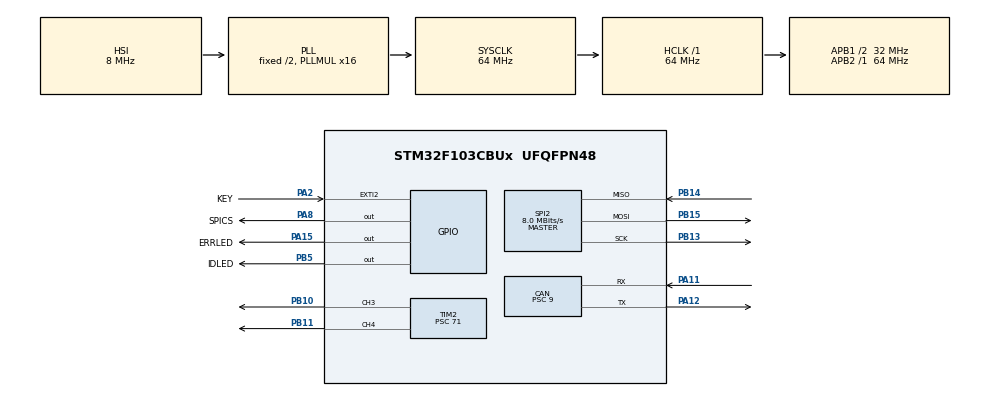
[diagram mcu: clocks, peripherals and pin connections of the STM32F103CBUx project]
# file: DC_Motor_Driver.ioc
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CAN.ABOM=ENABLE
CAN.AWUM=ENABLE
CAN.BS1=CAN_BS1_5TQ
CAN.BS2=CAN_BS2_2TQ
CAN.CalculateBaudRate=444444
CAN.CalculateTimeBit=2250
CAN.CalculateTimeQuantum=281.25
CAN.Prescaler=9
FREERTOS.Tasks01=defaultTask,0,128,StartDefaultTask,Default,NULL,Dynamic,NULL,NULL;Pid_Task,1,256,Motor_Update,As external,&motor,Dynamic,NULL,NULL
FREERTOS.Timers01=IDTimer,IDLEDAndIDSet,osTimerPeriodic,As external,NULL,Dynamic,NULL;Error_Timer,Error_LED,osTimerPeriodic,As external,NULL,Dynamic,NULL
FREERTOS.configMAX_PRIORITIES=5
FREERTOS.configTIMER_TASK_STACK_DEPTH=128
FREERTOS.configUSE_TIMERS=1
Mcu.Family=STM32F1
Mcu.Name=STM32F103CBUx
Mcu.Package=UFQFPN48
NVIC.EXTI2_IRQn=true\:5\:0\:true\:false\:true\:false\:true\:true\:true
NVIC.PriorityGroup=NVIC_PRIORITYGROUP_4
NVIC.TIM1_UP_IRQn=true\:15\:0\:false\:false\:true\:false\:false\:true\:true
NVIC.TIM3_IRQn=true\:4\:0\:true\:false\:true\:false\:true\:true\:true
NVIC.TimeBase=TIM1_UP_IRQn
NVIC.TimeBaseIP=TIM1
NVIC.USB_LP_CAN1_RX0_IRQn=true\:5\:0\:true\:false\:true\:true\:true\:true\:true
PA11.Mode=CAN_Activate
PA11.Signal=CAN_RX
PA12.Mode=CAN_Activate
PA12.Signal=CAN_TX
PA13.Mode=Serial_Wire
PA13.Signal=SYS_JTMS-SWDIO
PA14.Mode=Serial_Wire
PA14.Signal=SYS_JTCK-SWCLK
PA15.GPIO_Label=ERRLED
PA15.GPIO_ModeDefaultOutputPP=GPIO_MODE_OUTPUT_PP
PA15.GPIO_PuPd=GPIO_PULLUP
PA15.PinState=GPIO_PIN_RESET
PA15.Signal=GPIO_Output
PA2.GPIO_Label=KEY
PA2.GPIO_ModeDefaultEXTI=GPIO_MODE_IT_RISING
PA2.GPIO_PuPd=GPIO_PULLDOWN
PA2.Signal=GPXTI2
PA8.GPIO_Label=SPICS
PA8.GPIO_ModeDefaultOutputPP=GPIO_MODE_OUTPUT_PP
PA8.GPIO_PuPd=GPIO_PULLDOWN
PA8.GPIO_Speed=GPIO_SPEED_FREQ_HIGH
PA8.PinState=GPIO_PIN_RESET
PA8.Signal=GPIO_Output
PB10.Signal=S_TIM2_CH3
PB11.Signal=S_TIM2_CH4
PB13.Mode=Full_Duplex_Master
PB13.Signal=SPI2_SCK
PB14.Mode=Full_Duplex_Master
PB14.Signal=SPI2_MISO
PB15.Mode=Full_Duplex_Master
PB15.Signal=SPI2_MOSI
PB5.GPIO_Label=IDLED
PB5.GPIO_PuPd=GPIO_PULLDOWN
PB5.PinState=GPIO_PIN_RESET
PB5.Signal=GPIO_Output
PD0-OSC_IN.Mode=HSE-External-Oscillator
PD0-OSC_IN.Signal=RCC_OSC_IN
PD1-OSC_OUT.Mode=HSE-External-Oscillator
PD1-OSC_OUT.Signal=RCC_OSC_OUT
ProjectManager.HeapSize=0x200
ProjectManager.StackSize=0x400
ProjectManager.TargetToolchain=MDK-ARM V5.32
RCC.ADCPresc=RCC_ADCPCLK2_DIV6
RCC.AHBFreq_Value=64000000
RCC.APB1CLKDivider=RCC_HCLK_DIV2
RCC.APB1Freq_Value=32000000
RCC.APB1TimFreq_Value=64000000
RCC.APB2Freq_Value=64000000
RCC.APB2TimFreq_Value=64000000
RCC.HCLKFreq_Value=64000000
RCC.PLLMUL=RCC_PLL_MUL16
RCC.SYSCLKFreq_VALUE=64000000
RCC.SYSCLKSource=RCC_SYSCLKSOURCE_PLLCLK
RCC.USBFreq_Value=64000000
SH.S_TIM2_CH3.0=TIM2_CH3,PWM Generation3 CH3
SH.S_TIM2_CH4.0=TIM2_CH4,PWM Generation4 CH4
SPI2.BaudRatePrescaler=SPI_BAUDRATEPRESCALER_4
SPI2.CLKPhase=SPI_PHASE_2EDGE
SPI2.CalculateBaudRate=8.0 MBits/s
SPI2.DataSize=SPI_DATASIZE_16BIT
SPI2.Direction=SPI_DIRECTION_2LINES
SPI2.FirstBit=SPI_FIRSTBIT_MSB
SPI2.Mode=SPI_MODE_MASTER
SPI2.VirtualType=VM_MASTER
TIM2.AutoReloadPreload=TIM_AUTORELOAD_PRELOAD_DISABLE
TIM2.Channel-PWM\ Generation3\ CH3=TIM_CHANNEL_3
TIM2.Channel-PWM\ Generation4\ CH4=TIM_CHANNEL_4
TIM2.OCPolarity_3=TIM_OCPOLARITY_HIGH
TIM2.OCPolarity_4=TIM_OCPOLARITY_HIGH
TIM2.Period=1000-1
TIM2.Prescaler=71
TIM3.AutoReloadPreload=TIM_AUTORELOAD_PRELOAD_ENABLE
TIM3.Period=999
TIM3.Prescaler=71
VP_FREERTOS_VS_CMSIS_V1.Mode=CMSIS_V1
VP_SYS_VS_tim1.Mode=TIM1
VP_TIM2_VS_ClockSourceINT.Mode=Internal
VP_TIM3_VS_ClockSourceINT.Mode=Internal
board=custom

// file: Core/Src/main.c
/* USER CODE BEGIN Header */
/**
  ******************************************************************************
  * @file           : main.c
  * @brief          : Main program body
  ******************************************************************************
  * @attention
  *
  * Copyright (c) 2023 STMicroelectronics.
  * All rights reserved.
  *
  * This software is licensed under terms that can be found in the LICENSE file
  * in the root directory of this software component.
  * If no LICENSE file comes with this software, it is provided AS-IS.
  *
  ******************************************************************************
  */
/* USER CODE END Header */
#include "main.h"
#include "cmsis_os.h"
#include "can.h"
#include "spi.h"
#include "tim.h"
#include "gpio.h"

/* USER CODE BEGIN Includes */
#include "motor_controller.h"
/* USER CODE END Includes */

void SystemClock_Config(void);
void MX_FREERTOS_Init(void);

int main(void)
{

  /* MCU Configuration--------------------------------------------------------*/

  /* Reset of all peripherals, Initializes the Flash interface and the Systick. */
  HAL_Init();

  /* Configure the system clock */
  SystemClock_Config();

  /* Initialize all configured peripherals */
  MX_GPIO_Init();
  MX_CAN_Init();
  MX_SPI2_Init();
  MX_TIM2_Init();
  MX_TIM3_Init();

  /* Call init function for freertos objects (in freertos.c) */
  MX_FREERTOS_Init();

  /* Start scheduler */
  osKernelStart();
  /* We should never get here as control is now taken by the scheduler */
  /* Infinite loop */
  while (1)
  {

  }
}

void SystemClock_Config(void)
{
  RCC_OscInitTypeDef RCC_OscInitStruct = {0};
  RCC_ClkInitTypeDef RCC_ClkInitStruct = {0};

  /** Initializes the RCC Oscillators according to the specified parameters
  * in the RCC_OscInitTypeDef structure.
  */
  RCC_OscInitStruct.OscillatorType = RCC_OSCILLATORTYPE_HSI;
  RCC_OscInitStruct.HSIState = RCC_HSI_ON;
  RCC_OscInitStruct.HSICalibrationValue = RCC_HSICALIBRATION_DEFAULT;
  RCC_OscInitStruct.PLL.PLLState = RCC_PLL_ON;
  RCC_OscInitStruct.PLL.PLLSource = RCC_PLLSOURCE_HSI_DIV2;
  RCC_OscInitStruct.PLL.PLLMUL = RCC_PLL_MUL16;
  if (HAL_RCC_OscConfig(&RCC_OscInitStruct) != HAL_OK)
  {
    Error_Handler();
  }

  /** Initializes the CPU, AHB and APB buses clocks
  */
  RCC_ClkInitStruct.ClockType = RCC_CLOCKTYPE_HCLK|RCC_CLOCKTYPE_SYSCLK
                              |RCC_CLOCKTYPE_PCLK1|RCC_CLOCKTYPE_PCLK2;
  RCC_ClkInitStruct.SYSCLKSource = RCC_SYSCLKSOURCE_PLLCLK;
  RCC_ClkInitStruct.AHBCLKDivider = RCC_SYSCLK_DIV1;
  RCC_ClkInitStruct.APB1CLKDivider = RCC_HCLK_DIV2;
  RCC_ClkInitStruct.APB2CLKDivider = RCC_HCLK_DIV1;

  if (HAL_RCC_ClockConfig(&RCC_ClkInitStruct, FLASH_LATENCY_2) != HAL_OK)
  {
    Error_Handler();
  }
}

void HAL_TIM_PeriodElapsedCallback(TIM_HandleTypeDef *htim)
{
  /* USER CODE BEGIN Callback 0 */

  if (htim->Instance == TIM3)
	{
		TIM3_NVIC_Callback();
	}

  /* USER CODE END Callback 0 */
  if (htim->Instance == TIM1) {
    HAL_IncTick();
  }
}

void Error_Handler(void)
{
  __disable_irq();
  while (1)
  {
  }
}

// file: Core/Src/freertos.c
/* USER CODE BEGIN Header */
/**
  ******************************************************************************
  * File Name          : freertos.c
  * Description        : Code for freertos applications
  ******************************************************************************
  * @attention
  *
  * Copyright (c) 2023 STMicroelectronics.
  * All rights reserved.
  *
  * This software is licensed under terms that can be found in the LICENSE file
  * in the root directory of this software component.
  * If no LICENSE file comes with this software, it is provided AS-IS.
  *
  ******************************************************************************
  */
/* USER CODE END Header */

#include "FreeRTOS.h"
#include "task.h"
#include "main.h"
#include "cmsis_os.h"

/* USER CODE BEGIN Includes */

#include "key_id.h"
#include "motor_controller.h"
#include "communication.h"
#include "motor_controller.h"

/* USER CODE END Includes */

osThreadId defaultTaskHandle;
osThreadId Pid_TaskHandle;
osTimerId IDTimerHandle;
osTimerId Error_TimerHandle;

/* USER CODE BEGIN FunctionPrototypes */
void init_all(void);
/* USER CODE END FunctionPrototypes */

void StartDefaultTask(void const * argument);
extern void Motor_Update(void const * argument);
extern void IDLEDAndIDSet(void const * argument);
extern void Error_LED(void const * argument);

void MX_FREERTOS_Init(void); /* (MISRA C 2004 rule 8.1) */

/* GetIdleTaskMemory prototype (linked to static allocation support) */
void vApplicationGetIdleTaskMemory( StaticTask_t **ppxIdleTaskTCBBuffer, StackType_t **ppxIdleTaskStackBuffer, uint32_t *pulIdleTaskStackSize );

/* GetTimerTaskMemory prototype (linked to static allocation support) */
void vApplicationGetTimerTaskMemory( StaticTask_t **ppxTimerTaskTCBBuffer, StackType_t **ppxTimerTaskStackBuffer, uint32_t *pulTimerTaskStackSize );

/* USER CODE BEGIN GET_IDLE_TASK_MEMORY */
static StaticTask_t xIdleTaskTCBBuffer;
static StackType_t xIdleStack[configMINIMAL_STACK_SIZE];

void vApplicationGetIdleTaskMemory( StaticTask_t **ppxIdleTaskTCBBuffer, StackType_t **ppxIdleTaskStackBuffer, uint32_t *pulIdleTaskStackSize )
{
  *ppxIdleTaskTCBBuffer = &xIdleTaskTCBBuffer;
  *ppxIdleTaskStackBuffer = &xIdleStack[0];
  *pulIdleTaskStackSize = configMINIMAL_STACK_SIZE;
  /* place for user code */
}
/* USER CODE END GET_IDLE_TASK_MEMORY */

/* USER CODE BEGIN GET_TIMER_TASK_MEMORY */
static StaticTask_t xTimerTaskTCBBuffer;
static StackType_t xTimerStack[configTIMER_TASK_STACK_DEPTH];

void vApplicationGetTimerTaskMemory( StaticTask_t **ppxTimerTaskTCBBuffer, StackType_t **ppxTimerTaskStackBuffer, uint32_t *pulTimerTaskStackSize )
{
  *ppxTimerTaskTCBBuffer = &xTimerTaskTCBBuffer;
  *ppxTimerTaskStackBuffer = &xTimerStack[0];
  *pulTimerTaskStackSize = configTIMER_TASK_STACK_DEPTH;
  /* place for user code */
}
/* USER CODE END GET_TIMER_TASK_MEMORY */

void MX_FREERTOS_Init(void) {

  /* Create the timer(s) */
  /* definition and creation of IDTimer */
  osTimerDef(IDTimer, IDLEDAndIDSet);
  IDTimerHandle = osTimerCreate(osTimer(IDTimer), osTimerPeriodic, NULL);

  /* definition and creation of Error_Timer */
  osTimerDef(Error_Timer, Error_LED);
  Error_TimerHandle = osTimerCreate(osTimer(Error_Timer), osTimerPeriodic, NULL);

  /* Create the thread(s) */
  /* definition and creation of defaultTask */
  osThreadDef(defaultTask, StartDefaultTask, osPriorityNormal, 0, 128);
  defaultTaskHandle = osThreadCreate(osThread(defaultTask), NULL);

  /* definition and creation of Pid_Task */
  osThreadDef(Pid_Task, Motor_Update, osPriorityAboveNormal, 0, 256);
  Pid_TaskHandle = osThreadCreate(osThread(Pid_Task), (void*) &motor);

  /* USER CODE BEGIN RTOS_THREADS */
  /* add threads, ... */
  init_all();
  /* USER CODE END RTOS_THREADS */

}

void StartDefaultTask(void const * argument)
{
  for(;;)
  {
    osDelay(1);
  }
}

/* USER CODE BEGIN Application */
void init_all(void)
{
  /* PWM */
  HAL_TIM_Base_Start(&htim2);
  HAL_TIM_PWM_Start(&htim2, TIM_CHANNEL_3);
  HAL_TIM_PWM_Start(&htim2, TIM_CHANNEL_4);

  /*  timerIT for speed  */
  //HAL_TIM_Base_Start_IT(&htim3);

  /*  CAN  */
  ID_init();
  //CAN_Filter_configure(ID);

  /*  电机控制相关结构体初始化  */
  motor_init(&motor);

  /*  soft timer  */

}
/* USER CODE END Application */
